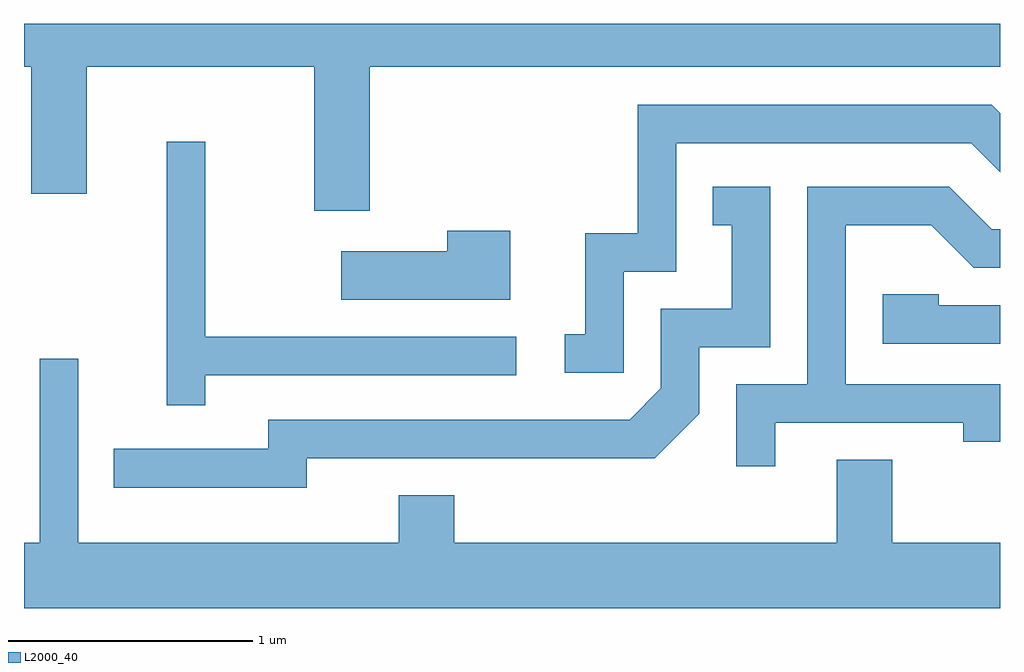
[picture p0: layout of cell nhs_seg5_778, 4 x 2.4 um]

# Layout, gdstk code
import gdstk
lib = gdstk.Library(unit=1e-6, precision=1e-09)
def P(c, l, *ps):  # polygons
    for p in ps: c.add(gdstk.Polygon(p, *l))
L2000_40 = (2000, 40)

nhs_seg5_778 = lib.new_cell('nhs_seg5_778')
P(nhs_seg5_778, L2000_40, [(209.029,1467.896),(211.611,1467.896),(211.611,1468.072),(207.611,1468.072),(207.611,1467.896),(207.641,1467.896),(207.641,1467.376),(207.869,1467.376),(207.869,1467.896),(208.801,1467.896),(208.801,1467.306),(209.029,1467.306)],
  [(210.069,1467.056),(210.284,1467.056),(210.284,1467.581),(211.494,1467.581),(211.611,1467.464),(211.611,1467.705),(211.577,1467.739),(210.126,1467.739),(210.126,1467.214),(209.911,1467.214),(209.911,1466.799),(209.828,1466.799),(209.828,1466.641),(210.069,1466.641)],
  [(208.354,1466.631),(209.628,1466.631),(209.628,1466.789),(208.354,1466.789),(208.354,1467.588),(208.196,1467.588),(208.196,1466.508),(208.354,1466.508)],
  [(210.689,1466.436),(211.461,1466.436),(211.461,1466.358),(211.611,1466.358),(211.611,1466.594),(210.979,1466.594),(210.979,1467.246),(211.329,1467.246),(211.504,1467.071),(211.611,1467.071),(211.611,1467.229),(211.577,1467.229),(211.402,1467.404),(210.821,1467.404),(210.821,1466.594),(210.531,1466.594),(210.531,1466.258),(210.689,1466.258)],
  [(208.769,1466.291),(210.197,1466.291),(210.379,1466.474),(210.379,1466.746),(210.669,1466.746),(210.669,1467.404),(210.433,1467.404),(210.433,1467.246),(210.511,1467.246),(210.511,1466.904),(210.221,1466.904),(210.221,1466.577),(210.094,1466.449),(208.611,1466.449),(208.611,1466.329),(207.978,1466.329),(207.978,1466.171),(208.769,1466.171)],
  [(209.604,1467.224),(209.346,1467.224),(209.346,1467.139),(208.911,1467.139),(208.911,1466.941),(209.604,1466.941)],
  [(211.611,1466.919),(211.359,1466.919),(211.359,1466.964),(211.131,1466.964),(211.131,1466.761),(211.611,1466.761)],
  [(211.611,1465.944),(211.169,1465.944),(211.169,1466.284),(210.941,1466.284),(210.941,1465.944),(209.374,1465.944),(209.374,1466.139),(209.146,1466.139),(209.146,1465.944),(207.834,1465.944),(207.834,1466.698),(207.676,1466.698),(207.676,1465.944),(207.611,1465.944),(207.611,1465.676),(211.611,1465.676)])

lib.write_gds('nhs_seg5_778.gds')
